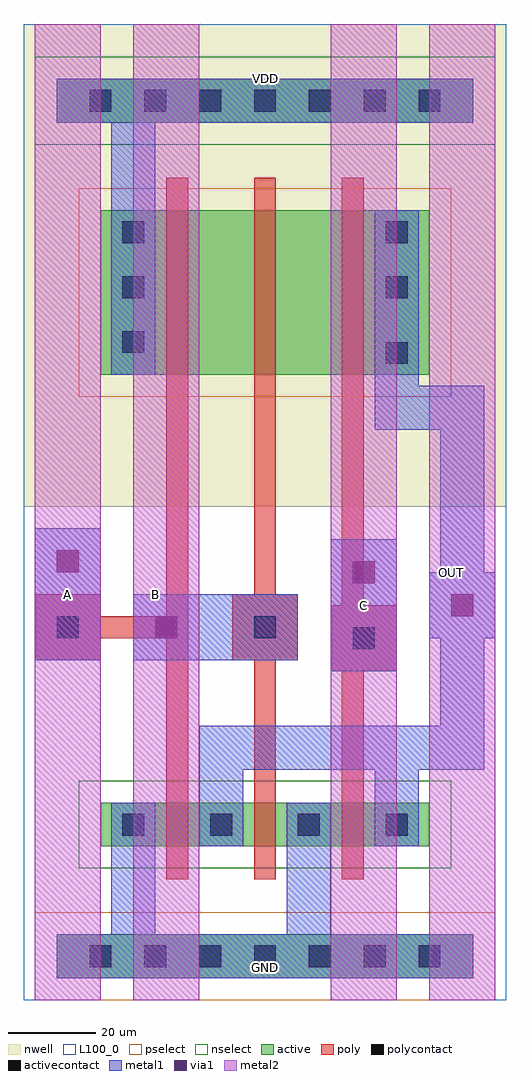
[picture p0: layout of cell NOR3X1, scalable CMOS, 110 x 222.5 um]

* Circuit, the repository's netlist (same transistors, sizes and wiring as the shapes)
*
XX1 A B C VDD OUT VSS NOR3X1

* block symbol definitions
.subckt NOR3X1 A B C VDD OUT VSS
MP1 VDD A n1 VDD CIDPMOS l=5u w=37.5u
MP2 n1 B n2 VDD CIDPMOS l=5u w=37.5u
MP3 n2 C OUT VDD CIDPMOS l=5u w=37.5u
MN1 OUT A VSS VSS CIDNMOS l=5u w=10u
MN2 OUT B VSS VSS CIDNMOS l=5u w=10u
MN3 OUT C VSS VSS CIDNMOS l=5u w=10u
.ends NOR3X1

.model NMOS NMOS
.model PMOS PMOS
.lib C:\Users\Alexa\AppData\Local\LTspice\lib\cmp\standard.mos
.backanno
.end

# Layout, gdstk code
import gdstk
lib = gdstk.Library(unit=1e-6, precision=1e-09)
def R(c, l, rs):  # rectangles x0, y0, x1, y1
    for r in rs: c.add(gdstk.rectangle(r[:2], r[2:], *l))
def A(c, l, x, y, w, h, nx, ny, dx, dy):  # array of equal rectangles
    R(c, l, [(x+i*dx, y+j*dy, x+i*dx+w, y+j*dy+h) for i in range(nx) for j in range(ny)])
nwell = (42, 0)
active = (43, 0)
pselect = (44, 0)
nselect = (45, 0)
poly = (46, 0)
polycontact = (47, 0)
activecontact = (48, 0)
metal1 = (49, 0)
via1 = (50, 0)
metal2 = (51, 0)
L100_0 = (100, 0)

nor3x1 = lib.new_cell('NOR3X1')
R(nor3x1, nwell, [(0,112.5,110,222.5)])
R(nor3x1, active, [(7.5,5,102.5,15), (17.5,35,92.5,45), (17.5,142.5,92.5,180), (7.5,200,102.5,210)])
R(nor3x1, pselect, [(2.5,0,107.5,20), (12.5,137.5,97.5,185)])
R(nor3x1, nselect, [(12.5,30,97.5,50), (2.5,195,107.5,215)])
A(nor3x1, poly, 32.5, 27.5, 5, 160, 3, 1, 20, 0)
R(nor3x1, poly, [(70,75,85,90), (2.5,77.5,17.5,92.5), (47.5,77.5,62.5,92.5), (72.5,80,80,85), (7.5,82.5,37.5,87.5)])
R(nor3x1, polycontact, [(75,80,80,85), (7.5,82.5,12.5,87.5), (52.5,82.5,57.5,87.5)])
A(nor3x1, activecontact, 15, 7.5, 5, 5, 7, 2, 12.5, 195)
A(nor3x1, activecontact, 22.5, 37.5, 5, 5, 4, 1, 20, 0)
A(nor3x1, activecontact, 22.5, 147.5, 5, 5, 1, 3, 0, 12.5)
R(nor3x1, activecontact, [(82.5,145,87.5,150), (82.5,160,87.5,165), (82.5,172.5,87.5,177.5)])
R(nor3x1, metal1, [(7.5,5,102.5,15), (20,7.5,30,45), (60,7.5,70,45), (40,35,50,62.5), (80,35,90,62.5), (40,52.5,90,62.5), (80,52.5,105,62.5), (95,52.5,105,77.5), (95,52.5,105,140), (70,75,85,105), (2.5,77.5,17.5,107.5), (25,77.5,62.5,92.5), (92.5,82.5,107.5,97.5), (80,130,90,180), (80,130,105,140), (20,142.5,30,205), (7.5,200,102.5,210)])
R(nor3x1, via1, [(30,82.5,35,87.5), (97.5,87.5,102.5,92.5), (75,95,80,100), (7.5,97.5,12.5,102.5)])
R(nor3x1, metal2, [(2.5,0,17.5,222.5), (25,0,40,222.5), (70,0,85,222.5), (92.5,0,107.5,222.5)])
R(nor3x1, L100_0, [(0,0,110,222.5)])
nor3x1.add(gdstk.Label('VDD', (55,210), layer=49, texttype=1))
nor3x1.add(gdstk.Label('GND', (55,7.5), layer=49, texttype=1))
nor3x1.add(gdstk.Label('OUT', (97.5,97.5), layer=51, texttype=1))
nor3x1.add(gdstk.Label('C', (77.5,90), layer=51, texttype=1))
nor3x1.add(gdstk.Label('A', (10,92.5), layer=51, texttype=1))
nor3x1.add(gdstk.Label('B', (30,92.5), layer=51, texttype=1))

lib.write_gds('NOR3X1.gds')
